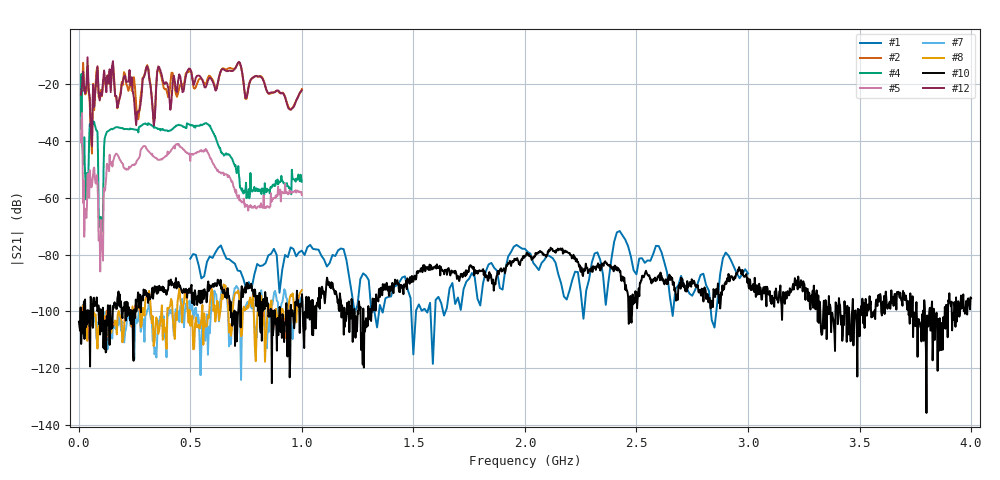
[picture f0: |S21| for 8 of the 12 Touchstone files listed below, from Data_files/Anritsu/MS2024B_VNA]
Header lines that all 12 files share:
! Anritsu VNA Master:  Model: MS2024B
! SN:  2417009
! Existing Calibration Information:
! TYPE:  Current Settings,  Active Cal Settings
! SOURCE POWER:  Default,  Default
! IFBW:  1 kHz,  1 kHz
! REF PLANE 1:  0 mm,  0 mm
! REF PLANE 2:  0 mm,  0 mm
! CAL METHOD:  SOLT,  SOLT
! CAL LINE TYPE:  Coax,  Coax
! DUT PORT 1:  N-Conn(M),  N-Conn(M)
! DUT PORT 2:  N-Conn(M),  N-Conn(M)
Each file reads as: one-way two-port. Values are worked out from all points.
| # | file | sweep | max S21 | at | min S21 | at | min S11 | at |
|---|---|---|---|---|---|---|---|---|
| 1 | 2-7GHz_ant.s2p | 500 MHz to 3 GHz | -71.74 dB | 2.425 GHz | -118.4 dB | 1.587 GHz | -12.8 dB | 2.7 GHz |
| 2 | ew_mira.s2p | 10 MHz to 1 GHz | -12.53 dB | 717.9 MHz | -44.5 dB | 59.5 MHz | -33.2 dB | 163.4 MHz |
| 3 | ew_mira_1.s2p | 10 MHz to 1 GHz | -12.54 dB | 717.9 MHz | -45.0 dB | 59.5 MHz | -36.3 dB | 163.4 MHz |
| 4 | front-pha-13ln-3_14.s2p | 10 MHz to 1 GHz | -16.49 dB | 12.47 MHz | -71.8 dB | 106.5 MHz | -5.5 dB | 418.4 MHz |
| 5 | frontend-pha-13ln.s2p | 10 MHz to 1 GHz | -30.29 dB | 14.95 MHz | -86.0 dB | 96.62 MHz | -5.5 dB | 829.2 MHz |
| 6 | frontend-pha-13ln_1.s2p | 10 MHz to 1 GHz | -16.62 dB | 14.95 MHz | -84.6 dB | 109 MHz | -5.8 dB | 14.95 MHz |
| 7 | mini-ariso-1.s2p | 10 MHz to 1 GHz | -90.65 dB | 649.4 MHz | -124.1 dB | 727.8 MHz | -42.7 dB | 224.5 MHz |
| 8 | mini-ariso-2.s2p | 10 MHz to 1 GHz | -90.48 dB | 649.4 MHz | -117.7 dB | 835 MHz | -28.2 dB | 298.8 MHz |
| 9 | mini-ariso-iso-21.s2p | 10 MHz to 1 GHz | -12.28 dB | 142 MHz | -39.0 dB | 335.9 MHz | -29.2 dB | 117.2 MHz |
| 10 | noolec_ant.s2p | 1 MHz to 4 GHz | -77.59 dB | 2.115 GHz | -135.7 dB | 3.8 GHz | -58.7 dB | 2.303 GHz |
| 11 | ns_mira.s2p | 10 MHz to 1 GHz | -11.61 dB | 153.6 MHz | -41.3 dB | 59.5 MHz | -51.4 dB | 99.1 MHz |
| 12 | ns_mira_1.s2p | 10 MHz to 1 GHz | -10.63 dB | 39.7 MHz | -41.9 dB | 59.5 MHz | -55.4 dB | 99.1 MHz |
